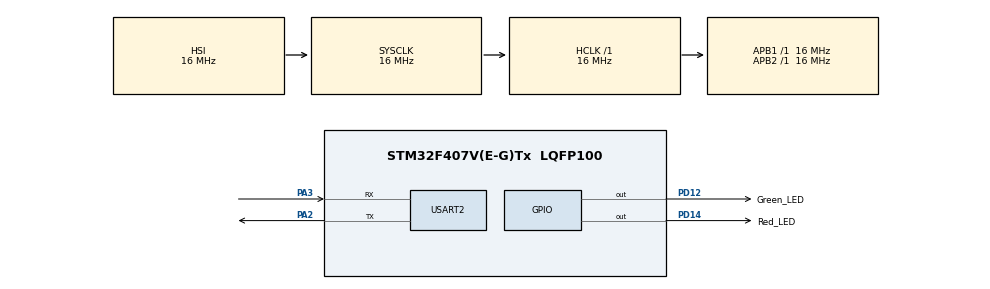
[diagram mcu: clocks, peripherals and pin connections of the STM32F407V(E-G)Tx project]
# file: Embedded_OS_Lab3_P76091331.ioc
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Mcu.Family=STM32F4
Mcu.Name=STM32F407V(E-G)Tx
Mcu.Package=LQFP100
NVIC.PriorityGroup=NVIC_PRIORITYGROUP_4
NVIC.TIM7_IRQn=true\:0\:0\:false\:false\:true\:false\:true
NVIC.TimeBase=TIM7_IRQn
NVIC.TimeBaseIP=TIM7
PA13.Mode=Serial_Wire
PA13.Signal=SYS_JTMS-SWDIO
PA14.Mode=Serial_Wire
PA14.Signal=SYS_JTCK-SWCLK
PA2.Mode=Asynchronous
PA2.Signal=USART2_TX
PA3.Mode=Asynchronous
PA3.Signal=USART2_RX
PD12.GPIO_Label=Green_LED
PD12.Signal=GPIO_Output
PD14.GPIO_Label=Red_LED
PD14.Signal=GPIO_Output
ProjectManager.HeapSize=0x200
ProjectManager.StackSize=0x400
ProjectManager.TargetToolchain=STM32CubeIDE
RCC.AHBFreq_Value=16000000
RCC.APB1Freq_Value=16000000
RCC.APB2Freq_Value=16000000
RCC.CortexFreq_Value=16000000
RCC.HSE_VALUE=25000000
RCC.HSI_VALUE=16000000
RCC.LSE_VALUE=32768
RCC.SYSCLKFreq_VALUE=16000000
RCC.VCOOutputFreq_Value=192000000
USART2.VirtualMode=VM_ASYNC
VP_SYS_VS_tim7.Mode=TIM7
board=custom

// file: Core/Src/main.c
/* USER CODE BEGIN Header */
/**
  ******************************************************************************
  * @file           : main.c
  * @brief          : Main program body
  ******************************************************************************
  * @attention
  *
  * <h2><center>&copy; Copyright (c) 2021 STMicroelectronics.
  * All rights reserved.</center></h2>
  *
  * This software component is licensed by ST under BSD 3-Clause license,
  * the "License"; You may not use this file except in compliance with the
  * License. You may obtain a copy of the License at:
  *                        opensource.org/licenses/BSD-3-Clause
  *
  ******************************************************************************
  */
/* USER CODE END Header */
#include "main.h"
#include "FreeRTOS.h"
/* USER CODE BEGIN Includes */
#include "task.h"
#include "stm32f4xx_hal.h"
#include "stdio.h"

/* USER CODE END Includes */

UART_HandleTypeDef huart2;

void SystemClock_Config(void);
static void MX_GPIO_Init(void);
static void MX_USART2_UART_Init(void);
/* USER CODE BEGIN PFP */
void TaskMonitor_App();
void red_blink();
void green_blink();
void task_delay();

/* USER CODE END PFP */

int main(void)
{

  /* MCU Configuration--------------------------------------------------------*/

  /* Reset of all peripherals, Initializes the Flash interface and the Systick. */
  HAL_Init();

  /* Configure the system clock */
  SystemClock_Config();

  /* Initialize all configured peripherals */
  MX_GPIO_Init();
  MX_USART2_UART_Init();
  /* USER CODE BEGIN 2 */
  xTaskCreate(TaskMonitor_App,"TaskMonitor",130,NULL,2,NULL);  //create task monitor
  xTaskCreate(green_blink,"green_blink",130,NULL,1,NULL);  //green_led blinking
  xTaskCreate(red_blink,"red_blink",130,NULL,1,NULL);  //red_led blinking
  xTaskCreate(task_delay,"task_delay",130,NULL,14,NULL);  //task_delay
  vTaskStartScheduler();
  /* USER CODE END 2 */

  /* Infinite loop */
  while (1)
  {

  }
}

void SystemClock_Config(void)
{
  RCC_OscInitTypeDef RCC_OscInitStruct = {0};
  RCC_ClkInitTypeDef RCC_ClkInitStruct = {0};

  /** Configure the main internal regulator output voltage
  */
  __HAL_RCC_PWR_CLK_ENABLE();
  __HAL_PWR_VOLTAGESCALING_CONFIG(PWR_REGULATOR_VOLTAGE_SCALE1);
  /** Initializes the RCC Oscillators according to the specified parameters
  * in the RCC_OscInitTypeDef structure.
  */
  RCC_OscInitStruct.OscillatorType = RCC_OSCILLATORTYPE_HSI;
  RCC_OscInitStruct.HSIState = RCC_HSI_ON;
  RCC_OscInitStruct.HSICalibrationValue = RCC_HSICALIBRATION_DEFAULT;
  RCC_OscInitStruct.PLL.PLLState = RCC_PLL_NONE;
  if (HAL_RCC_OscConfig(&RCC_OscInitStruct) != HAL_OK)
  {
    Error_Handler();
  }
  /** Initializes the CPU, AHB and APB buses clocks
  */
  RCC_ClkInitStruct.ClockType = RCC_CLOCKTYPE_HCLK|RCC_CLOCKTYPE_SYSCLK
                              |RCC_CLOCKTYPE_PCLK1|RCC_CLOCKTYPE_PCLK2;
  RCC_ClkInitStruct.SYSCLKSource = RCC_SYSCLKSOURCE_HSI;
  RCC_ClkInitStruct.AHBCLKDivider = RCC_SYSCLK_DIV1;
  RCC_ClkInitStruct.APB1CLKDivider = RCC_HCLK_DIV1;
  RCC_ClkInitStruct.APB2CLKDivider = RCC_HCLK_DIV1;

  if (HAL_RCC_ClockConfig(&RCC_ClkInitStruct, FLASH_LATENCY_0) != HAL_OK)
  {
    Error_Handler();
  }
}

static void MX_USART2_UART_Init(void)
{

  huart2.Instance = USART2;
  huart2.Init.BaudRate = 115200;
  huart2.Init.WordLength = UART_WORDLENGTH_8B;
  huart2.Init.StopBits = UART_STOPBITS_1;
  huart2.Init.Parity = UART_PARITY_NONE;
  huart2.Init.Mode = UART_MODE_TX_RX;
  huart2.Init.HwFlowCtl = UART_HWCONTROL_NONE;
  huart2.Init.OverSampling = UART_OVERSAMPLING_16;
  if (HAL_UART_Init(&huart2) != HAL_OK)
  {
    Error_Handler();
  }

}

static void MX_GPIO_Init(void)
{
  GPIO_InitTypeDef GPIO_InitStruct = {0};

  /* GPIO Ports Clock Enable */
  __HAL_RCC_GPIOA_CLK_ENABLE();
  __HAL_RCC_GPIOD_CLK_ENABLE();

  /*Configure GPIO pin Output Level */
  HAL_GPIO_WritePin(GPIOD, Green_LED_Pin|Red_LED_Pin, GPIO_PIN_RESET);

  /*Configure GPIO pins : Green_LED_Pin Red_LED_Pin */
  GPIO_InitStruct.Pin = Green_LED_Pin|Red_LED_Pin;
  GPIO_InitStruct.Mode = GPIO_MODE_OUTPUT_PP;
  GPIO_InitStruct.Pull = GPIO_NOPULL;
  GPIO_InitStruct.Speed = GPIO_SPEED_FREQ_LOW;
  HAL_GPIO_Init(GPIOD, &GPIO_InitStruct);

}

/* USER CODE BEGIN 4 */
void TaskMonitor_App(void *pvParameters){
	//uint32_t Monitortimer = 200;
	//char MonitorTset[20];
	//char num[15];
	int i = 500;
	while(1){
		//memset(MonitorTset,'\0',sizeof(MonitorTset));
		//memset(num,'\0',sizeof(num));
		//itoa(i,num,10);
		//strcat(num," ");
		//sprintf(MonitorTset,"The point is %s\n\r",num);
		//HAL_UART_Transmit(&huart2,(uint8_t *)MonitorTset,strlen(MonitorTset),0xffff);
		//vTaskDelay(Monitortimer);
		//Monitortimer += 1;

	    TaskMonitor();
	    i += 1;
	    vTaskDelay(i);

	}
}
void red_blink(){
	uint32_t Redtimer = 50;
	while(1){
		HAL_GPIO_TogglePin(GPIOD,Red_LED_Pin);
		vTaskDelay(Redtimer);
		Redtimer += 1;
	}
}
void green_blink(){
	uint32_t Greentimer = 10;
		while(1){
			HAL_GPIO_TogglePin(GPIOD,Green_LED_Pin);
			vTaskDelay(Greentimer);
			Greentimer += 2;
		}
}
void task_delay(){
	while(1){
		vTaskDelay(150);
	}
}

/* USER CODE END 4 */

 /**
  * @brief  Period elapsed callback in non blocking mode
  * @note   This function is called  when TIM7 interrupt took place, inside
  * HAL_TIM_IRQHandler(). It makes a direct call to HAL_IncTick() to increment
  * a global variable "uwTick" used as application time base.
  * @param  htim : TIM handle
  * @retval None
  */
void HAL_TIM_PeriodElapsedCallback(TIM_HandleTypeDef *htim)
{
  if (htim->Instance == TIM7) {
    HAL_IncTick();
  }
}

void Error_Handler(void)
{
  __disable_irq();
  while (1)
  {
  }
}

/************************ (C) COPYRIGHT STMicroelectronics *****END OF FILE****/
